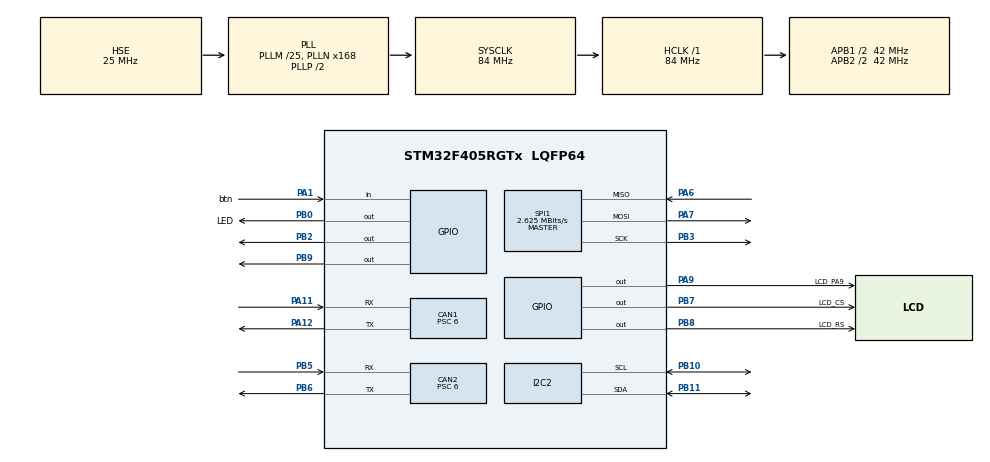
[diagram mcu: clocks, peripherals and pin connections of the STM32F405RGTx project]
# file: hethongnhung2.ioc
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ADC1.Channel-0\#ChannelRegularConversion=ADC_CHANNEL_TEMPSENSOR
ADC1.Channel-1\#ChannelRegularConversion=ADC_CHANNEL_TEMPSENSOR
ADC1.ContinuousConvMode=ENABLE
ADC1.DMAContinuousRequests=ENABLE
ADC1.NbrOfConversion=2
ADC1.NbrOfConversionFlag=1
ADC1.Rank-0\#ChannelRegularConversion=1
ADC1.Rank-1\#ChannelRegularConversion=2
ADC1.SamplingTime-0\#ChannelRegularConversion=ADC_SAMPLETIME_144CYCLES
ADC1.SamplingTime-1\#ChannelRegularConversion=ADC_SAMPLETIME_144CYCLES
ADC1.ScanConvMode=ENABLE
ADC1.master=1
CAN1.BS1=CAN_BS1_6TQ
CAN1.BS2=CAN_BS2_3TQ
CAN1.CalculateBaudRate=700000
CAN1.CalculateTimeBit=1428
CAN1.CalculateTimeQuantum=142.85714285714286
CAN1.Prescaler=6
CAN2.BS1=CAN_BS1_6TQ
CAN2.BS2=CAN_BS2_3TQ
CAN2.CalculateBaudRate=700000
CAN2.CalculateTimeBit=1428
CAN2.CalculateTimeQuantum=142.85714285714286
CAN2.Prescaler=6
Dma.ADC1.0.Direction=DMA_PERIPH_TO_MEMORY
Dma.ADC1.0.FIFOMode=DMA_FIFOMODE_DISABLE
Dma.ADC1.0.Instance=DMA2_Stream0
Dma.ADC1.0.MemDataAlignment=DMA_MDATAALIGN_HALFWORD
Dma.ADC1.0.MemInc=DMA_MINC_ENABLE
Dma.ADC1.0.Mode=DMA_NORMAL
Dma.ADC1.0.PeriphDataAlignment=DMA_PDATAALIGN_HALFWORD
Dma.ADC1.0.PeriphInc=DMA_PINC_DISABLE
Dma.ADC1.0.Priority=DMA_PRIORITY_LOW
Dma.Request0=ADC1
FREERTOS.Tasks01=defaultTask,0,1024,StartDefaultTask,Default,NULL,Dynamic,NULL,NULL;LCD_Touch_Task,0,1024,LCD_Touch,Default,NULL,Dynamic,NULL,NULL;LED_Task,-1,256,LED,Default,NULL,Dynamic,NULL,NULL;CAN_Task,1,526,CAN,Default,NULL,Dynamic,NULL,NULL;Button_FRAM_Tas,-1,128,Button_FRAM,Default,NULL,Dynamic,NULL,NULL;Display_CAN_Dat,-2,128,Display_CAN,Default,NULL,Dynamic,NULL,NULL
I2C2.I2C_Mode=I2C_Fast
Mcu.Family=STM32F4
Mcu.Name=STM32F405RGTx
Mcu.Package=LQFP64
NVIC.DMA2_Stream0_IRQn=true\:5\:0\:false\:false\:true\:true\:false\:true\:true
NVIC.PriorityGroup=NVIC_PRIORITYGROUP_4
NVIC.TIM1_UP_TIM10_IRQn=true\:15\:0\:false\:false\:true\:false\:false\:true\:true
NVIC.TimeBase=TIM1_UP_TIM10_IRQn
NVIC.TimeBaseIP=TIM1
PA1.GPIO_Label=btn
PA1.Signal=GPIO_Input
PA11.Mode=CAN_Activate
PA11.Signal=CAN1_RX
PA12.Mode=CAN_Activate
PA12.Signal=CAN1_TX
PA13.Mode=Serial_Wire
PA13.Signal=SYS_JTMS-SWDIO
PA14.Mode=Serial_Wire
PA14.Signal=SYS_JTCK-SWCLK
PA6.Mode=Full_Duplex_Master
PA6.Signal=SPI1_MISO
PA7.Mode=Full_Duplex_Master
PA7.Signal=SPI1_MOSI
PA9.GPIO_Label=LCD_PA9
PA9.Signal=GPIO_Output
PB0.GPIO_Label=LED
PB0.Signal=GPIO_Output
PB10.Mode=I2C
PB10.Signal=I2C2_SCL
PB11.Mode=I2C
PB11.Signal=I2C2_SDA
PB2.Signal=GPIO_Output
PB3.Mode=Full_Duplex_Master
PB3.Signal=SPI1_SCK
PB5.Mode=CAN_Activate
PB5.Signal=CAN2_RX
PB6.Mode=CAN_Activate
PB6.Signal=CAN2_TX
PB7.GPIO_Label=LCD_CS
PB7.Signal=GPIO_Output
PB8.GPIO_Label=LCD_RS
PB8.Signal=GPIO_Output
PB9.Signal=GPIO_Output
PH0-OSC_IN.Mode=HSE-External-Oscillator
PH0-OSC_IN.Signal=RCC_OSC_IN
PH1-OSC_OUT.Mode=HSE-External-Oscillator
PH1-OSC_OUT.Signal=RCC_OSC_OUT
ProjectManager.HeapSize=0x200
ProjectManager.StackSize=0x400
ProjectManager.TargetToolchain=STM32CubeIDE
RCC.48MHZClocksFreq_Value=42000000
RCC.AHBFreq_Value=84000000
RCC.APB1CLKDivider=RCC_HCLK_DIV2
RCC.APB1Freq_Value=42000000
RCC.APB1TimFreq_Value=84000000
RCC.APB2CLKDivider=RCC_HCLK_DIV2
RCC.APB2Freq_Value=42000000
RCC.APB2TimFreq_Value=84000000
RCC.CortexFreq_Value=84000000
RCC.HCLKFreq_Value=84000000
RCC.HSE_VALUE=25000000
RCC.HSI_VALUE=16000000
RCC.LSE_VALUE=32768
RCC.PLLM=25
RCC.PLLN=168
RCC.PLLSourceVirtual=RCC_PLLSOURCE_HSE
RCC.SYSCLKFreq_VALUE=84000000
RCC.SYSCLKSource=RCC_SYSCLKSOURCE_PLLCLK
RCC.VCOOutputFreq_Value=168000000
SPI1.BaudRatePrescaler=SPI_BAUDRATEPRESCALER_16
SPI1.CalculateBaudRate=2.625 MBits/s
SPI1.Direction=SPI_DIRECTION_2LINES
SPI1.Mode=SPI_MODE_MASTER
SPI1.VirtualType=VM_MASTER
VP_ADC1_TempSens_Input.Mode=IN-TempSens
VP_ADC1_Vref_Input.Mode=IN-Vrefint
VP_FREERTOS_VS_CMSIS_V1.Mode=CMSIS_V1
VP_RTC_VS_RTC_Activate.Mode=RTC_Enabled
VP_RTC_VS_RTC_Calendar.Mode=RTC_Calendar
VP_SYS_VS_tim1.Mode=TIM1
board=custom

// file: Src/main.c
/* USER CODE BEGIN Header */
/**
  ******************************************************************************
  * @file           : main.c
  * @brief          : Main program body
  ******************************************************************************
  * @attention
  *
  * Copyright (c) 2025 STMicroelectronics.
  * All rights reserved.
  *
  * This software is licensed under terms that can be found in the LICENSE file
  * in the root directory of this software component.
  * If no LICENSE file comes with this software, it is provided AS-IS.
  *
  ******************************************************************************
  */
/* USER CODE END Header */
#include "main.h"
#include "cmsis_os.h"
/* USER CODE BEGIN Includes */
#include "LCD_Driver.h"
#include "touch.h"
#include "stdio.h"
#include "FreeRTOS.h"
#include <stdio.h>
#include <string.h>
#include "fram_i2c.h"
/* USER CODE END Includes */

/* USER CODE BEGIN PTD */
#define VREFINT          1.21f
#define ADCMAX           4095
#define V25              0.76f
#define AVG_SlOPE        0.0025f
//#define FRAM_ADDR        0xA0

uint8_t temperature_data[2];
uint8_t data_sram[2] = {0};
uint8_t RxData[3];
uint16_t AdcRaw[2];
uint8_t AdcConvCmplt = 0;
double VrefInt;
double VTempSens;
double Temperature;

#define ENABLE_BIT(reg, pos) reg |= (1 << pos)
#define DISABLE_BIT(reg, pos) reg &=~ (1 << pos)

uint16_t x, y;
CAN_TxHeaderTypeDef txHeader;
CAN_RxHeaderTypeDef RxHeader;
uint8_t txdata[8];
uint32_t txMailbox;

RTC_TimeTypeDef sTime;
RTC_DateTypeDef sDate;
/* USER CODE END PTD */

/* USER CODE BEGIN PD */
#define btn_Pin GPIO_PIN_1
#define btn_GPIO_Port GPIOA
#define LOG_DATA_SIZE     8
/* USER CODE END PD */

ADC_HandleTypeDef hadc1;
DMA_HandleTypeDef hdma_adc1;

CAN_HandleTypeDef hcan1;
CAN_HandleTypeDef hcan2;

I2C_HandleTypeDef hi2c2;

RTC_HandleTypeDef hrtc;

SPI_HandleTypeDef hspi1;

osThreadId defaultTaskHandle;
osThreadId LCD_Touch_TaskHandle;
osThreadId LED_TaskHandle;
osThreadId CAN_TaskHandle;
osThreadId Button_FRAM_TasHandle;
osThreadId Display_CAN_DatHandle;
/* USER CODE BEGIN PV */
uint8_t menu_pressed = 0;
uint8_t current_screen = 0;
uint8_t need_redraw_main = 1;
static uint16_t fram_log_address = 0;
uint8_t need_redraw_menu = 1;
uint8_t led_running = 0;

#ifdef 0
uint8_t FRAM_Write(uint16_t addr, uint8_t *data, uint16_t len) {
    uint8_t result;
    uint8_t buffer[len + 2];
    buffer[0] = (addr >> 8) & 0xFF;
    buffer[1] = addr & 0xFF;
    memcpy(&buffer[2], data, len);
    result = HAL_I2C_Master_Transmit(&hi2c2, FRAM_ADDR, buffer, len + 2, HAL_MAX_DELAY);
    HAL_Delay(5);
    return (result == HAL_OK) ? 0 : 1;
}

uint8_t FRAM_Read(uint16_t addr, uint8_t *data, uint16_t len) {
    uint8_t result;
    uint8_t buffer[2];

    buffer[0] = (addr >> 8) & 0xFF;
    buffer[1] = addr & 0xFF;

    result = HAL_I2C_Master_Transmit(&hi2c2, FRAM_ADDR, buffer, 2, HAL_MAX_DELAY);
    if (result != HAL_OK) return 1;

    result = HAL_I2C_Master_Receive(&hi2c2, FRAM_ADDR, data, len, HAL_MAX_DELAY);
    return (result == HAL_OK) ? 0 : 1;
}
#endif

int8_t write_to_backup_sram(uint8_t *data, uint16_t bytes, uint16_t offset) {
  const uint16_t backup_size = 0x1000;
  uint8_t* base_addr = (uint8_t *) BKPSRAM_BASE;
  uint16_t i;

  if (bytes + offset >= backup_size) {
	  return -1;
  }

  ENABLE_BIT(RCC->AHB1ENR, RCC_AHB1ENR_BKPSRAMEN_Pos);
  ENABLE_BIT(RCC->AHB1ENR, RCC_APB1ENR_PWREN_Pos);
  // ENABLE_BIT(PWR->CR, 8);
  // ENABLE_BIT(PWR->CSR, 9);
  ENABLE_BIT(PWR->CR, PWR_CR_DBP_Pos);

  for (i = 0; i < bytes; i++) {
	  *(base_addr + offset + i) = *(data + i);
  }

  // DISABLE_BIT(PWR->CR, 8);
  DISABLE_BIT(PWR->CR, PWR_CR_DBP_Pos);
  return 0;
}

int8_t read_from_backup_sram(uint8_t *data, uint16_t bytes, uint16_t offset) {
  const uint16_t backup_size = 0x1000;
  uint8_t* base_addr = (uint8_t *) BKPSRAM_BASE;
  uint16_t i;

  if (bytes + offset >= backup_size) {
	  return -1;
  }

  ENABLE_BIT(RCC->AHB1ENR, RCC_APB1ENR_PWREN_Pos);
  // ENABLE_BIT(PWR->CR, 8);
  ENABLE_BIT(RCC->AHB1ENR, RCC_AHB1ENR_BKPSRAMEN_Pos);
  ENABLE_BIT(PWR->CR, PWR_CR_DBP_Pos);

  for (i = 0; i < bytes; i++) {
	  *(data + i) = *(base_addr + offset + i);
  }
  // DISABLE_BIT(PWR->CR, 8);
  DISABLE_BIT(PWR->CR, PWR_CR_DBP_Pos);
  return 0;
}
void HAL_CAN_RxFifo0MsgPendingCallback(CAN_HandleTypeDef *hcan) {
  HAL_CAN_GetRxMessage(hcan, CAN_RX_FIFO0, &RxHeader, RxData);
}

void HAL_ADC_ConvCpltCallback(ADC_HandleTypeDef* hadc)
{
	if(hadc->Instance == ADC1){
		AdcConvCmplt = 255;
	}
}

void UpdateTemperature(void) {
  if (AdcConvCmplt) {
    VrefInt = (VREFINT * ADCMAX) / AdcRaw[0];
    VTempSens = (VrefInt * AdcRaw[1]) / ADCMAX;
    Temperature = (VTempSens - V25) / AVG_SlOPE + 25.0;

    temperature_data[0] = (uint8_t)Temperature;
    temperature_data[1] = (uint8_t)((Temperature - temperature_data[0]) * 100);
    write_to_backup_sram(temperature_data, sizeof(temperature_data), 0);
    read_from_backup_sram(data_sram, sizeof(temperature_data), 0);
    AdcConvCmplt = 0;
    HAL_ADC_Start_DMA(&hadc1, (uint32_t*)AdcRaw, 2);
  }
}
/* USER CODE END PV */

void SystemClock_Config(void);
static void MX_GPIO_Init(void);
static void MX_DMA_Init(void);
static void MX_SPI1_Init(void);
static void MX_ADC1_Init(void);
static void MX_CAN1_Init(void);
static void MX_CAN2_Init(void);
static void MX_I2C2_Init(void);
static void MX_RTC_Init(void);
void StartDefaultTask(void const * argument);
void LCD_Touch(void const * argument);
void LED(void const * argument);
void CAN(void const * argument);
void Button_FRAM(void const * argument);
void Display_CAN(void const * argument);

int main(void)
{

  /* MCU Configuration--------------------------------------------------------*/

  /* Reset of all peripherals, Initializes the Flash interface and the Systick. */

	HAL_Init();

  /* Configure the system clock */
  SystemClock_Config();

  /* Initialize all configured peripherals */
  MX_GPIO_Init();
  MX_DMA_Init();
  MX_SPI1_Init();
  MX_ADC1_Init();
  MX_CAN1_Init();
  MX_CAN2_Init();
  MX_I2C2_Init();
  MX_RTC_Init();
  /* USER CODE BEGIN 2 */
  HAL_CAN_Start(&hcan1);
  HAL_CAN_Start(&hcan2);
  HAL_CAN_ActivateNotification(&hcan2, CAN_IT_RX_FIFO0_MSG_PENDING);
  ADC->CCR |= ADC_CCR_TSVREFE;
  HAL_ADC_Start_DMA(&hadc1, (uint32_t*)AdcRaw, 2);

  txHeader.StdId = 0x123;
  txHeader.ExtId = 0;
  txHeader.IDE = CAN_ID_STD;
  txHeader.RTR = CAN_RTR_DATA;
  txHeader.DLC = 3;
  txHeader.TransmitGlobalTime = DISABLE;
  lcd_init();
  tp_init();
  tp_adjust();
  tp_dialog();
  if (FRAM_Init(&hi2c2) == HAL_OK) {
    lcd_display_string(10, 260, (uint8_t*)"FRAM OK", FONT_1206, GREEN);
  } else {
    lcd_display_string(10, 260, (uint8_t*)"FRAM Fail!", FONT_1206, RED);
  }
  osDelay(1000);
  /* USER CODE END 2 */

  /* Create the thread(s) */
  osThreadDef(defaultTask, StartDefaultTask, osPriorityNormal, 0, 1024);
  defaultTaskHandle = osThreadCreate(osThread(defaultTask), NULL);

  osThreadDef(LCD_Touch_Task, LCD_Touch, osPriorityNormal, 0, 1024);
  LCD_Touch_TaskHandle = osThreadCreate(osThread(LCD_Touch_Task), NULL);

  osThreadDef(LED_Task, LED, osPriorityBelowNormal, 0, 128);
  LED_TaskHandle = osThreadCreate(osThread(LED_Task), NULL);

  osThreadDef(CAN_Task, CAN, osPriorityAboveNormal, 0, 526);
  CAN_TaskHandle = osThreadCreate(osThread(CAN_Task), NULL);

  osThreadDef(Button_FRAM_Tas, Button_FRAM, osPriorityBelowNormal, 0, 128);
  Button_FRAM_TasHandle = osThreadCreate(osThread(Button_FRAM_Tas), NULL);

  osThreadDef(Display_CAN_Dat, Display_CAN, osPriorityLow, 0, 128);
  Display_CAN_DatHandle = osThreadCreate(osThread(Display_CAN_Dat), NULL);

  /* USER CODE BEGIN RTOS_THREADS */
  /* add threads, ... */

  osThreadSuspend(LED_TaskHandle);
  osThreadSuspend(CAN_TaskHandle);
  osThreadSuspend(Button_FRAM_TasHandle);
  osThreadSuspend(Display_CAN_DatHandle);

  /* USER CODE END RTOS_THREADS */

  /* Start scheduler */
  osKernelStart();

  /* We should never get here as control is now taken by the scheduler */

  /* Infinite loop */
  while (1)
  {

  }
}

void SystemClock_Config(void)
{
  RCC_OscInitTypeDef RCC_OscInitStruct = {0};
  RCC_ClkInitTypeDef RCC_ClkInitStruct = {0};

  /** Configure the main internal regulator output voltage
  */
  __HAL_RCC_PWR_CLK_ENABLE();
  __HAL_PWR_VOLTAGESCALING_CONFIG(PWR_REGULATOR_VOLTAGE_SCALE1);

  /** Initializes the RCC Oscillators according to the specified parameters
  * in the RCC_OscInitTypeDef structure.
  */
  RCC_OscInitStruct.OscillatorType = RCC_OSCILLATORTYPE_LSI|RCC_OSCILLATORTYPE_HSE;
  RCC_OscInitStruct.HSEState = RCC_HSE_ON;
  RCC_OscInitStruct.LSIState = RCC_LSI_ON;
  RCC_OscInitStruct.PLL.PLLState = RCC_PLL_ON;
  RCC_OscInitStruct.PLL.PLLSource = RCC_PLLSOURCE_HSE;
  RCC_OscInitStruct.PLL.PLLM = 25;
  RCC_OscInitStruct.PLL.PLLN = 168;
  RCC_OscInitStruct.PLL.PLLP = RCC_PLLP_DIV2;
  RCC_OscInitStruct.PLL.PLLQ = 4;
  if (HAL_RCC_OscConfig(&RCC_OscInitStruct) != HAL_OK)
  {
    Error_Handler();
  }

  /** Initializes the CPU, AHB and APB buses clocks
  */
  RCC_ClkInitStruct.ClockType = RCC_CLOCKTYPE_HCLK|RCC_CLOCKTYPE_SYSCLK
                              |RCC_CLOCKTYPE_PCLK1|RCC_CLOCKTYPE_PCLK2;
  RCC_ClkInitStruct.SYSCLKSource = RCC_SYSCLKSOURCE_PLLCLK;
  RCC_ClkInitStruct.AHBCLKDivider = RCC_SYSCLK_DIV1;
  RCC_ClkInitStruct.APB1CLKDivider = RCC_HCLK_DIV2;
  RCC_ClkInitStruct.APB2CLKDivider = RCC_HCLK_DIV2;

  if (HAL_RCC_ClockConfig(&RCC_ClkInitStruct, FLASH_LATENCY_2) != HAL_OK)
  {
    Error_Handler();
  }
}

static void MX_ADC1_Init(void)
{

  ADC_ChannelConfTypeDef sConfig = {0};

  /** Configure the global features of the ADC (Clock, Resolution, Data Alignment and number of conversion)
  */
  hadc1.Instance = ADC1;
  hadc1.Init.ClockPrescaler = ADC_CLOCK_SYNC_PCLK_DIV2;
  hadc1.Init.Resolution = ADC_RESOLUTION_12B;
  hadc1.Init.ScanConvMode = ENABLE;
  hadc1.Init.ContinuousConvMode = ENABLE;
  hadc1.Init.DiscontinuousConvMode = DISABLE;
  hadc1.Init.ExternalTrigConvEdge = ADC_EXTERNALTRIGCONVEDGE_NONE;
  hadc1.Init.ExternalTrigConv = ADC_SOFTWARE_START;
  hadc1.Init.DataAlign = ADC_DATAALIGN_RIGHT;
  hadc1.Init.NbrOfConversion = 2;
  hadc1.Init.DMAContinuousRequests = ENABLE;
  hadc1.Init.EOCSelection = ADC_EOC_SINGLE_CONV;
  if (HAL_ADC_Init(&hadc1) != HAL_OK)
  {
    Error_Handler();
  }

  /** Configure for the selected ADC regular channel its corresponding rank in the sequencer and its sample time.
  */
  sConfig.Channel = ADC_CHANNEL_TEMPSENSOR;
  sConfig.Rank = 2;
  sConfig.SamplingTime = ADC_SAMPLETIME_144CYCLES;
  if (HAL_ADC_ConfigChannel(&hadc1, &sConfig) != HAL_OK)
  {
    Error_Handler();
  }

  /** Configure for the selected ADC regular channel its corresponding rank in the sequencer and its sample time.
  */
  sConfig.Channel = ADC_CHANNEL_TEMPSENSOR;
  sConfig.Rank = 2;
  sConfig.SamplingTime = ADC_SAMPLETIME_480CYCLES;
  if (HAL_ADC_ConfigChannel(&hadc1, &sConfig) != HAL_OK)
  {
    Error_Handler();
  }

  /* USER CODE BEGIN ADC1_Init 2 */
  sConfig.Channel = ADC_CHANNEL_VREFINT;
  sConfig.Rank = 1;
  sConfig.SamplingTime = ADC_SAMPLETIME_480CYCLES;
  if (HAL_ADC_ConfigChannel(&hadc1, &sConfig) != HAL_OK)
  {
      Error_Handler();
  }
  /* USER CODE END ADC1_Init 2 */

}

static void MX_CAN1_Init(void)
{

  hcan1.Instance = CAN1;
  hcan1.Init.Prescaler = 6;
  hcan1.Init.Mode = CAN_MODE_NORMAL;
  hcan1.Init.SyncJumpWidth = CAN_SJW_1TQ;
  hcan1.Init.TimeSeg1 = CAN_BS1_6TQ;
  hcan1.Init.TimeSeg2 = CAN_BS2_3TQ;
  hcan1.Init.TimeTriggeredMode = DISABLE;
  hcan1.Init.AutoBusOff = DISABLE;
  hcan1.Init.AutoWakeUp = DISABLE;
  hcan1.Init.AutoRetransmission = DISABLE;
  hcan1.Init.ReceiveFifoLocked = DISABLE;
  hcan1.Init.TransmitFifoPriority = DISABLE;
  if (HAL_CAN_Init(&hcan1) != HAL_OK)
  {
    Error_Handler();
  }
  /* USER CODE BEGIN CAN1_Init 2 */
  // Cấu hình bộ lọc CAN1

   CAN_FilterTypeDef filter;
   filter.FilterIdHigh = 0x0000;
   filter.FilterIdLow = 0x0000;
   filter.FilterMaskIdHigh = 0x0000;
   filter.FilterMaskIdLow = 0x0000;  // Nhận tất cả messages
   filter.FilterFIFOAssignment = CAN_FILTER_FIFO0;
   filter.FilterBank = 0;
   filter.FilterMode = CAN_FILTERMODE_IDMASK;
   filter.FilterScale = CAN_FILTERSCALE_32BIT;
   filter.FilterActivation = CAN_FILTER_ENABLE;
   filter.SlaveStartFilterBank = 14; // Số bank bắt đầu cho CAN2

   if (HAL_CAN_ConfigFilter(&hcan1, &filter) != HAL_OK)
   {
     Error_Handler();
   }

  /* USER CODE END CAN1_Init 2 */

}

static void MX_CAN2_Init(void)
{

  hcan2.Instance = CAN2;
  hcan2.Init.Prescaler = 6;
  hcan2.Init.Mode = CAN_MODE_NORMAL;
  hcan2.Init.SyncJumpWidth = CAN_SJW_1TQ;
  hcan2.Init.TimeSeg1 = CAN_BS1_6TQ;
  hcan2.Init.TimeSeg2 = CAN_BS2_3TQ;
  hcan2.Init.TimeTriggeredMode = DISABLE;
  hcan2.Init.AutoBusOff = DISABLE;
  hcan2.Init.AutoWakeUp = DISABLE;
  hcan2.Init.AutoRetransmission = ENABLE;
  hcan2.Init.ReceiveFifoLocked = DISABLE;
  hcan2.Init.TransmitFifoPriority = DISABLE;
  if (HAL_CAN_Init(&hcan2) != HAL_OK)
  {
    Error_Handler();
  }
  /* USER CODE BEGIN CAN2_Init 2 */

  CAN_FilterTypeDef filter2;
  filter2.FilterIdHigh =0x123 << 5;
  filter2.FilterIdLow = 0;
  filter2.FilterMaskIdHigh = 0x7FF << 5;
  filter2.FilterMaskIdLow = 0;
  filter2.FilterFIFOAssignment = CAN_FILTER_FIFO0;
  filter2.FilterBank = 14;
  filter2.FilterMode = CAN_FILTERMODE_IDMASK;
  filter2.FilterScale = CAN_FILTERSCALE_32BIT;
  filter2.FilterActivation = CAN_FILTER_ENABLE;

  if (HAL_CAN_ConfigFilter(&hcan2, &filter2) != HAL_OK)
  {
    Error_Handler();
  }

  /* USER CODE END CAN2_Init 2 */

}

static void MX_I2C2_Init(void)
{

  hi2c2.Instance = I2C2;
  hi2c2.Init.ClockSpeed = 400000;
  hi2c2.Init.DutyCycle = I2C_DUTYCYCLE_2;
  hi2c2.Init.OwnAddress1 = 0;
  hi2c2.Init.AddressingMode = I2C_ADDRESSINGMODE_7BIT;
  hi2c2.Init.DualAddressMode = I2C_DUALADDRESS_DISABLE;
  hi2c2.Init.OwnAddress2 = 0;
  hi2c2.Init.GeneralCallMode = I2C_GENERALCALL_DISABLE;
  hi2c2.Init.NoStretchMode = I2C_NOSTRETCH_DISABLE;
  if (HAL_I2C_Init(&hi2c2) != HAL_OK)
  {
    Error_Handler();
  }

}

static void MX_RTC_Init(void)
{

  RTC_TimeTypeDef sTime = {0};
  RTC_DateTypeDef sDate = {0};

  /** Initialize RTC Only
  */
  hrtc.Instance = RTC;
  hrtc.Init.HourFormat = RTC_HOURFORMAT_24;
  hrtc.Init.AsynchPrediv = 127;
  hrtc.Init.SynchPrediv = 255;
  hrtc.Init.OutPut = RTC_OUTPUT_DISABLE;
  hrtc.Init.OutPutPolarity = RTC_OUTPUT_POLARITY_HIGH;
  hrtc.Init.OutPutType = RTC_OUTPUT_TYPE_OPENDRAIN;
  if (HAL_RTC_Init(&hrtc) != HAL_OK)
  {
    Error_Handler();
  }

  /** Initialize RTC and set the Time and Date
  */
  sTime.Hours = 0x0;
  sTime.Minutes = 0x0;
  sTime.Seconds = 0x0;
  sTime.DayLightSaving = RTC_DAYLIGHTSAVING_NONE;
  sTime.StoreOperation = RTC_STOREOPERATION_RESET;
  if (HAL_RTC_SetTime(&hrtc, &sTime, RTC_FORMAT_BCD) != HAL_OK)
  {
    Error_Handler();
  }
  sDate.WeekDay = RTC_WEEKDAY_MONDAY;
  sDate.Month = RTC_MONTH_JANUARY;
  sDate.Date = 0x1;
  sDate.Year = 0x0;

  if (HAL_RTC_SetDate(&hrtc, &sDate, RTC_FORMAT_BCD) != HAL_OK)
  {
    Error_Handler();
  }

}

static void MX_SPI1_Init(void)
{

  /* SPI1 parameter configuration*/
  hspi1.Instance = SPI1;
  hspi1.Init.Mode = SPI_MODE_MASTER;
  hspi1.Init.Direction = SPI_DIRECTION_2LINES;
  hspi1.Init.DataSize = SPI_DATASIZE_8BIT;
  hspi1.Init.CLKPolarity = SPI_POLARITY_LOW;
  hspi1.Init.CLKPhase = SPI_PHASE_1EDGE;
  hspi1.Init.NSS = SPI_NSS_SOFT;
  hspi1.Init.BaudRatePrescaler = SPI_BAUDRATEPRESCALER_8;
  hspi1.Init.FirstBit = SPI_FIRSTBIT_MSB;
  hspi1.Init.TIMode = SPI_TIMODE_DISABLE;
  hspi1.Init.CRCCalculation = SPI_CRCCALCULATION_DISABLE;
  hspi1.Init.CRCPolynomial = 10;
  if (HAL_SPI_Init(&hspi1) != HAL_OK)
  {
    Error_Handler();
  }

}

static void MX_DMA_Init(void)
{

  /* DMA controller clock enable */
  __HAL_RCC_DMA2_CLK_ENABLE();

  /* DMA interrupt init */
  /* DMA2_Stream0_IRQn interrupt configuration */
  HAL_NVIC_SetPriority(DMA2_Stream0_IRQn, 5, 0);
  HAL_NVIC_EnableIRQ(DMA2_Stream0_IRQn);

}

static void MX_GPIO_Init(void)
{
  GPIO_InitTypeDef GPIO_InitStruct = {0};

  /* GPIO Ports Clock Enable */
  __HAL_RCC_GPIOH_CLK_ENABLE();
  __HAL_RCC_GPIOA_CLK_ENABLE();
  __HAL_RCC_GPIOB_CLK_ENABLE();

  /*Configure GPIO pin Output Level */
  HAL_GPIO_WritePin(GPIOB, LED_Pin|GPIO_PIN_2|LCD_CS_Pin|LCD_RS_Pin
                          |GPIO_PIN_9, GPIO_PIN_RESET);

  /*Configure GPIO pin Output Level */
  HAL_GPIO_WritePin(LCD_PA9_GPIO_Port, LCD_PA9_Pin, GPIO_PIN_RESET);

  /*Configure GPIO pin : btn_Pin */
  GPIO_InitStruct.Pin = btn_Pin;
  GPIO_InitStruct.Mode = GPIO_MODE_INPUT;
  GPIO_InitStruct.Pull = GPIO_NOPULL;
  HAL_GPIO_Init(btn_GPIO_Port, &GPIO_InitStruct);

  /*Configure GPIO pins : LED_Pin PB2 LCD_CS_Pin LCD_RS_Pin
                           PB9 */
  GPIO_InitStruct.Pin = LED_Pin|GPIO_PIN_2|LCD_CS_Pin|LCD_RS_Pin
                          |GPIO_PIN_9;
  GPIO_InitStruct.Mode = GPIO_MODE_OUTPUT_PP;
  GPIO_InitStruct.Pull = GPIO_NOPULL;
  GPIO_InitStruct.Speed = GPIO_SPEED_FREQ_LOW;
  HAL_GPIO_Init(GPIOB, &GPIO_InitStruct);

  /*Configure GPIO pin : LCD_PA9_Pin */
  GPIO_InitStruct.Pin = LCD_PA9_Pin;
  GPIO_InitStruct.Mode = GPIO_MODE_OUTPUT_PP;
  GPIO_InitStruct.Pull = GPIO_NOPULL;
  GPIO_InitStruct.Speed = GPIO_SPEED_FREQ_LOW;
  HAL_GPIO_Init(LCD_PA9_GPIO_Port, &GPIO_InitStruct);

}

void StartDefaultTask(void const * argument)
{
  /* USER CODE BEGIN 5 */
  /* Infinite loop */

  for(;;)
  {
    if (current_screen == 0) {
    	if (need_redraw_main) {
    		lcd_clear_screen(WHITE);
    		lcd_display_string(85, 20, (uint8_t*)"[NHOM 08]", FONT_1608, N);
    		lcd_draw_rect(60, 5, 120, 40, GREEN);
    		lcd_draw_rect(62, 7, 116, 36, YELLOW);
    		lcd_display_string(40, 60, (uint8_t*)"DANH SACH THANH VIEN", FONT_1608, N);
    		lcd_draw_rect(20, 45, 200, 40, BLUE);
       	lcd_draw_rect(22, 47, 196, 36, RED);
    		lcd_display_string(0, 90, (uint8_t*)"22200061 Le Bao Gia Hoang", FONT_1608, N);
    		lcd_display_string(0, 120, (uint8_t*)"22200188 Doan Le Thanh Toan", FONT_1608, N);
    		lcd_display_string(0, 150, (uint8_t*)"21200283 Nguyen Dao Binh Duong", FONT_1608, N);
    		lcd_display_string(0, 180, (uint8_t*)"21200351 Le Minh Thanh", FONT_1608, N);
    		lcd_display_string(0, 210, (uint8_t*)"21200320 Tran Nguyen Nhat", FONT_1608, N);

    		lcd_draw_rect(60, 250, 120, 40, BLUE);
    		lcd_draw_rect(62, 252, 116, 36, RED);

    		lcd_display_string(90, 265, (uint8_t*)"TASK 2 >>", FONT_1608, N);
    		need_redraw_main = 0;
    	}

      while(current_screen == 0) {
    	  uint16_t x, y;
    	  if (tp_get_touch_point(&x, &y)) {

          if (x >= 60 && x <= 180 && y >= 250 && y <= 290) {
            extern uint8_t need_redraw_menu;
            need_redraw_menu = 1;

            current_screen = 1;
            need_redraw_main = 1;
          }
        }
      }
    }
    osDelay(5);
  }
  /* USER CODE END 5 */
}

void LCD_Touch(void const * argument)
{
  /* USER CODE BEGIN LCD_Touch */
	 for(;;)
	  {
	    if (current_screen == 1) {
	    	 if (need_redraw_menu) {
	    		lcd_clear_screen(N);

          lcd_draw_rect(10, 10, 130, 20, WHITE);
          lcd_draw_rect(11, 11, 128, 18, WHITE);
          lcd_display_string(20, 12, (uint8_t*)"Nhom:[Nhom 08]", FONT_1608, WHITE);

			    lcd_draw_rect(20, 50, 90, 70, WHITE);
			    lcd_draw_rect(21, 51, 88, 68, WHITE);

			    //lcd_fill_rect(20, 50, 90, 70, WHITE);
			    lcd_display_string(30, 75, (uint8_t*)"Task 02-1", FONT_1608, WHITE);
			    lcd_display_string(30, 95, (uint8_t*)"LED OFF", FONT_1206, RED);

			    lcd_draw_rect(130, 50, 90, 70, WHITE);
			    lcd_draw_rect(131, 51, 88, 68, WHITE);
			    //lcd_fill_rect(130, 50, 90, 70, WHITE);
			    lcd_display_string(140, 75, (uint8_t*)"Task 02-2", FONT_1608, WHITE);

			    lcd_draw_rect(20, 140, 90, 70, WHITE);
			    lcd_draw_rect(21, 141, 88, 68, WHITE);
			   // lcd_fill_rect(20, 140, 90, 70, WHITE);
			    lcd_display_string(30, 165, (uint8_t*)"Task 02-3", FONT_1608, WHITE);

			    lcd_draw_rect(130, 140, 90, 70, WHITE);
			    lcd_draw_rect(131, 141, 88, 68, WHITE);
			    //lcd_fill_rect(130, 140, 90, 70, WHITE);
			    lcd_display_string(135, 165, (uint8_t*)"Task 02-4", FONT_1608, WHITE);

			    lcd_draw_rect(180, 220, 50, 20, WHITE);
			    lcd_draw_rect(181, 221, 48, 18, WHITE);
			   // lcd_fill_rect(180, 220, 50, 20, WHITE);
			    lcd_display_string(184, 224, (uint8_t*)"<<BACK", FONT_1206, WHITE);

		        need_redraw_menu = 0;
		      }

	      while(current_screen == 1) {
	        uint16_t x, y;
	        if (tp_get_touch_point(&x, &y)) {
            #ifdef 0
	          char str[30];
	          sprintf(str, "X:%d Y:%d  ", x, y);
	          lcd_display_string(10, 240, (uint8_t*)str, FONT_1206, RED);

	          if (x >= 180 && x <= 230 && y >= 220 && y <= 240) {
	            lcd_display_string(100, 220, (uint8_t*)"SWITCHING...", FONT_1206, RED);
	            current_screen = 0;
	            need_redraw_menu = 1;
	          }
            #endif
	          if (x >= 180 && x <= 230 && y >= 220 && y <= 240) {
	            osThreadSuspend(LED_TaskHandle);
	            osThreadSuspend(CAN_TaskHandle);
	            osThreadSuspend(Button_FRAM_TasHandle);
	            osThreadSuspend(Display_CAN_DatHandle);

              led_running = 0;

	            HAL_GPIO_WritePin(LED_GPIO_Port, LED_Pin, GPIO_PIN_RESET);

	            current_screen = 0;
	            need_redraw_menu = 1;
	            need_redraw_main = 1;

	            osDelay(100);
	          }

	          else if (x >= 20 && x <= 110 && y >= 50 && y <= 120) {
	            if (led_running) {
	          	  lcd_display_string(30, 95, (uint8_t*)"LED ON", FONT_1206, N);
	              lcd_display_string(30, 95, (uint8_t*)"LED OFF", FONT_1206, RED);
	              led_running = 0;
	              osThreadSuspend(LED_TaskHandle);

	              HAL_GPIO_WritePin(LED_GPIO_Port, LED_Pin, GPIO_PIN_RESET);
	              } else {
	            	  lcd_display_string(30, 95, (uint8_t*)"LED OFF", FONT_1206, N);
	                lcd_display_string(30, 95, (uint8_t*)"LED ON", FONT_1206, GREEN);
	                led_running = 1;
                  osThreadSuspend(CAN_TaskHandle);
	                osThreadSuspend(Button_FRAM_TasHandle);
	                osThreadSuspend(Display_CAN_DatHandle);

                  osThreadResume(LED_TaskHandle);
	              }
	          }
		        else if (x >= 130 && x <= 220 && y >= 50 && y <= 120) {
		          osThreadResume(CAN_TaskHandle);
		          osThreadSuspend(LED_TaskHandle);
		          osThreadSuspend(Button_FRAM_TasHandle);
		          osThreadSuspend(Display_CAN_DatHandle);
		        }
		        else if (x >= 20 && x <= 110 && y >= 140 && y <= 210) {
		          osThreadResume(Button_FRAM_TasHandle);
		          osThreadSuspend(LED_TaskHandle);
		          osThreadSuspend(CAN_TaskHandle);
		          osThreadSuspend(Display_CAN_DatHandle);
		        }
		        else if (x >= 130 && x <= 220 && y >= 140 && y <= 210) {
		          osThreadResume(Display_CAN_DatHandle);
		          osThreadSuspend(LED_TaskHandle);
		          osThreadSuspend(CAN_TaskHandle);
		          osThreadSuspend(Button_FRAM_TasHandle);
		        }
	        }
	        osDelay(50);
	      }
	    }
	    osDelay(100);
	  }
  /* USER CODE END LCD_Touch */
}

void LED(void const * argument)
{
  /* USER CODE BEGIN LED */
  /* Infinite loop */
  for(;;)
  {

	  HAL_GPIO_TogglePin(LED_GPIO_Port, LED_Pin);
	  osDelay(400);
  }

  /* USER CODE END LED */
}

void CAN(void const * argument)
{
  /* USER CODE BEGIN CAN */
	  for(;;)
	  {

	    UpdateTemperature();

	    txdata[0] = 8;
	    txdata[1] = temperature_data[0];
	    txdata[2] = temperature_data[1];
	    HAL_CAN_AddTxMessage(&hcan1, &txHeader, txdata, &txMailbox);
	    HAL_CAN_RxFifo0MsgPendingCallback(&hcan2);
	    HAL_CAN_RxFifo0MsgPendingCallback(&hcan1);
	    char debug_str[50];
	    sprintf(debug_str, "[Nhom %d] + [%d.%d do C]    ",txdata[0], txdata[1], txdata[2]);

	    lcd_display_string(10, 270, (uint8_t*)debug_str, FONT_1206, GREEN);
	    osDelay(500);
	    lcd_display_string(10, 270, (uint8_t*)debug_str, FONT_1206, N);//xóa chữ
	  }

}
  /* USER CODE END CAN */

void Button_FRAM(void const * argument)
{
  uint8_t button_state;
  uint8_t last_button_state = GPIO_PIN_SET;
  last_button_state = HAL_GPIO_ReadPin(btn_GPIO_Port, btn_Pin);
  uint8_t log_data[LOG_DATA_SIZE];
  char lcd_msg[60];
  for(;;)
  {
    button_state = HAL_GPIO_ReadPin(btn_GPIO_Port, btn_Pin);
	  if (last_button_state == GPIO_PIN_SET && button_state == GPIO_PIN_RESET) {
      lcd_display_string(10, 220, (uint8_t*)"Button Pressed!", FONT_1206, WHITE);
      AdcConvCmplt = 0;
      HAL_ADC_Start_DMA(&hadc1, (uint32_t*)AdcRaw, 2);
      uint32_t timeout_adc = HAL_GetTick() + 50;
      while(!AdcConvCmplt && HAL_GetTick() < timeout_adc){
        osDelay(1);
      }
      if(AdcConvCmplt){
        UpdateTemperature();
      }
      else {
        temperature_data[0] = 0xFF;
        temperature_data[1] = 0xFF;
        lcd_display_string(10, 240, (uint8_t*)"ADC Timeout!", FONT_1206, RED);
      }
      HAL_RTC_GetTime(&hrtc, &sTime, RTC_FORMAT_BIN);
      HAL_RTC_GetDate(&hrtc, &sDate, RTC_FORMAT_BIN);
      log_data[0] = temperature_data[0];
      log_data[1] = temperature_data[1];
      log_data[2] = sTime.Hours;
      log_data[3] = sTime.Minutes;
      log_data[4] = sTime.Seconds;
      log_data[5] = sDate.Date;
      log_data[6] = sDate.Month;
      log_data[7] = (uint8_t)sDate.Year;
      if (FRAM_WriteBytes(&hi2c2, fram_log_address, log_data, LOG_DATA_SIZE) == HAL_OK) {
        sprintf(lcd_msg, "Da ghi vao FRAM @0x%04X", fram_log_address);
        lcd_display_string(10, 240, (uint8_t*)lcd_msg, FONT_1206, GREEN);
        fram_log_address += LOG_DATA_SIZE;
        if (fram_log_address > (FRAM_MAX_MEMORY_ADDRESS - LOG_DATA_SIZE + 1) ) {
          fram_log_address = 0;
        }
      }
      else {
        lcd_display_string(10, 240, (uint8_t*)"Failed!", FONT_1206, RED);
      }
      osDelay(200);
	  }
	  last_button_state = button_state;
    osDelay(100);
	  lcd_display_string(10, 240, (uint8_t*)lcd_msg, FONT_1206, N);//xóa chữ
	  lcd_display_string(10, 220, (uint8_t*)"Button Pressed!", FONT_1206, N);//xóa chữ
	}
  /* USER CODE END Button_FRAM */
}

void Display_CAN(void const * argument)
{
  /* USER CODE BEGIN Display_CAN */
	for(;;) {
	  char display_str[50];
	  sprintf(display_str, "[Nhom %d] + [%d.%d do C]",RxData[0], RxData[1], RxData[2]);
	  lcd_display_string(10, 300, (uint8_t*)display_str, FONT_1206, GREEN);
	  osDelay(3000);
	  current_screen = 0;
	  need_redraw_main = 1;
	  osThreadSuspend(Display_CAN_DatHandle);

  /* USER CODE END Display_CAN */
}
}

void HAL_TIM_PeriodElapsedCallback(TIM_HandleTypeDef *htim)
{
  if (htim->Instance == TIM1)
  {
    HAL_IncTick();
  }
}

void Error_Handler(void)
{
  __disable_irq();
  while (1)
  {
  }
}
